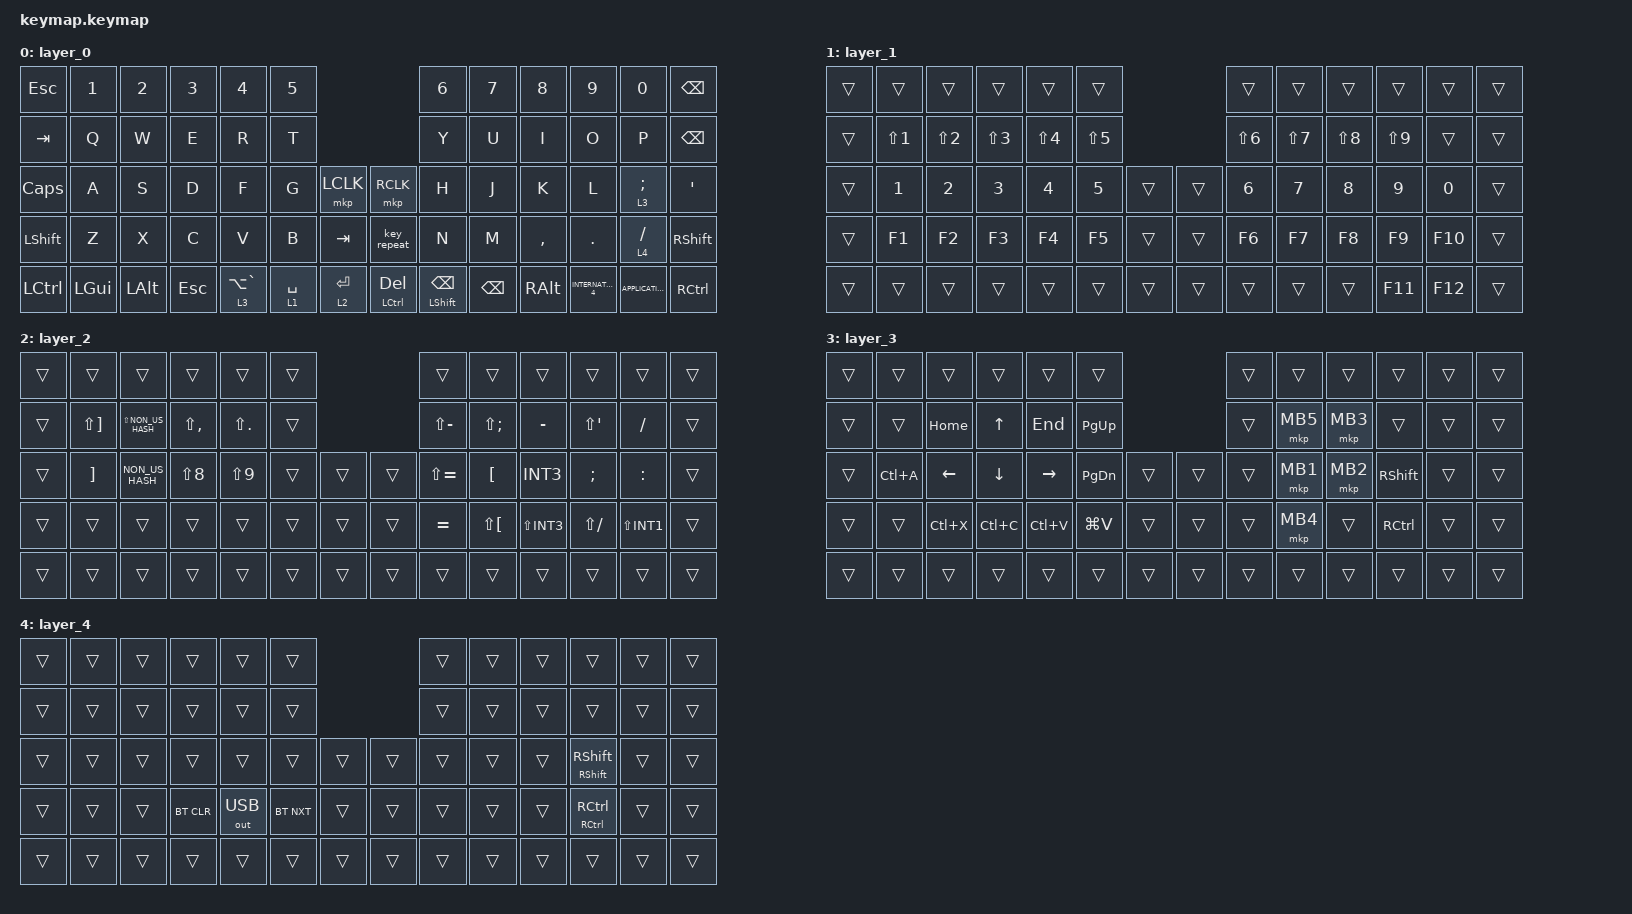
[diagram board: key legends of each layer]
#include <behaviors.dtsi>
#include <dt-bindings/zmk/bt.h>
#include <dt-bindings/zmk/keys.h>
#include <dt-bindings/zmk/outputs.h>
#include <dt-bindings/zmk/pointing.h>

/ {
    combos {
        compatible = "zmk,combos";

        bt_clear {
            bindings = <&bt BT_CLR>;
            key-positions = <28 29>;
            layers = <2>;
        };
    };

    keymap {
        compatible = "zmk,keymap";

        layer_0 {
            bindings = <
&kp ESC    &kp N1        &kp N2        &kp N3   &kp N4           &kp N5                                          &kp N6                    &kp N7    &kp N8     &kp N9               &kp N0             &kp BSPC
&kp TAB    &kp Q         &kp W         &kp E    &kp R            &kp T                                           &kp Y                     &kp U     &kp I      &kp O                &kp P              &kp BSPC
&kp CAPS   &kp A         &kp S         &kp D    &kp F            &kp G        &mkp LCLK    &mkp RCLK             &kp H                     &kp J     &kp K      &kp L                &lt 3 SEMICOLON    &kp SQT
&kp LSHFT  &kp Z         &kp X         &kp C    &kp V            &kp B        &kp TAB      &key_repeat           &kp N                     &kp M     &kp COMMA  &kp DOT              &lt 4 FSLH         &kp RSHFT
&kp LCTRL  &kp LEFT_GUI  &kp LEFT_ALT  &kp ESC  &lt 3 LA(GRAVE)  &lt 1 SPACE  &lt 2 ENTER  &mt LEFT_CONTROL DEL  &mt LEFT_SHIFT BACKSPACE  &kp BSPC  &kp RALT   &kp INTERNATIONAL_4  &kp K_APPLICATION  &kp RCTRL
            >;
        };

        layer_1 {
            bindings = <
&trans  &trans            &trans            &trans            &trans            &trans                      &trans            &trans      &trans      &trans      &trans   &trans
&trans  &kp LS(NUMBER_1)  &kp LS(NUMBER_2)  &kp LS(NUMBER_3)  &kp LS(NUMBER_4)  &kp LS(N5)                  &kp LS(NUMBER_6)  &kp LS(N7)  &kp LS(N8)  &kp LS(N9)  &trans   &trans
&trans  &kp NUMBER_1      &kp NUMBER_2      &kp NUMBER_3      &kp NUMBER_4      &kp N5      &trans  &trans  &kp NUMBER_6      &kp N7      &kp N8      &kp N9      &kp N0   &trans
&trans  &kp F1            &kp F2            &kp F3            &kp F4            &kp F5      &trans  &trans  &kp F6            &kp F7      &kp F8      &kp F9      &kp F10  &trans
&trans  &trans            &trans            &trans            &trans            &trans      &trans  &trans  &trans            &trans      &trans      &kp F11     &kp F12  &trans
            >;
        };

        layer_2 {
            bindings = <
&trans  &trans                 &trans               &trans         &trans       &trans                  &trans         &trans                &trans        &trans                &trans        &trans
&trans  &kp LS(RIGHT_BRACKET)  &kp LS(NON_US_HASH)  &kp LS(COMMA)  &kp LS(DOT)  &trans                  &kp LS(MINUS)  &kp LS(SEMICOLON)     &kp MINUS     &kp LS(SINGLE_QUOTE)  &kp SLASH     &trans
&trans  &kp RIGHT_BRACKET      &kp NON_US_HASH      &kp LS(N8)     &kp LS(N9)   &trans  &trans  &trans  &kp LS(EQUAL)  &kp LEFT_BRACKET      &kp INT3      &kp SEMICOLON         &kp COLON     &trans
&trans  &trans                 &trans               &trans         &trans       &trans  &trans  &trans  &kp EQUAL      &kp LS(LEFT_BRACKET)  &kp LS(INT3)  &kp LS(SLASH)         &kp LS(INT1)  &trans
&trans  &trans                 &trans               &trans         &trans       &trans  &trans  &trans  &trans         &trans                &trans        &trans                &trans        &trans
            >;
        };

        layer_3 {
            bindings = <
&trans  &trans     &trans          &trans          &trans           &trans                         &trans  &trans    &trans    &trans             &trans  &trans
&trans  &trans     &kp HOME        &kp UP_ARROW    &kp END          &kp PAGE_UP                    &trans  &mkp MB5  &mkp MB3  &trans             &trans  &trans
&trans  &kp LC(A)  &kp LEFT_ARROW  &kp DOWN_ARROW  &kp RIGHT_ARROW  &kp PAGE_DOWN  &trans  &trans  &trans  &mkp MB1  &mkp MB2  &kp RIGHT_SHIFT    &trans  &trans
&trans  &trans     &kp LC(X)       &kp LC(C)       &kp LC(V)        &kp LG(V)      &trans  &trans  &trans  &mkp MB4  &trans    &kp RIGHT_CONTROL  &trans  &trans
&trans  &trans     &trans          &trans          &trans           &trans         &trans  &trans  &trans  &trans    &trans    &trans             &trans  &trans
            >;
        };

        layer_4 {
            bindings = <
&trans  &trans  &trans  &trans      &trans        &trans                      &trans  &trans  &trans  &trans                           &trans  &trans
&trans  &trans  &trans  &trans      &trans        &trans                      &trans  &trans  &trans  &trans                           &trans  &trans
&trans  &trans  &trans  &trans      &trans        &trans      &trans  &trans  &trans  &trans  &trans  &mt RIGHT_SHIFT RIGHT_SHIFT      &trans  &trans
&trans  &trans  &trans  &bt BT_CLR  &out OUT_USB  &bt BT_NXT  &trans  &trans  &trans  &trans  &trans  &mt RIGHT_CONTROL RIGHT_CONTROL  &trans  &trans
&trans  &trans  &trans  &trans      &trans        &trans      &trans  &trans  &trans  &trans  &trans  &trans                           &trans  &trans
            >;
        };
    };
};
